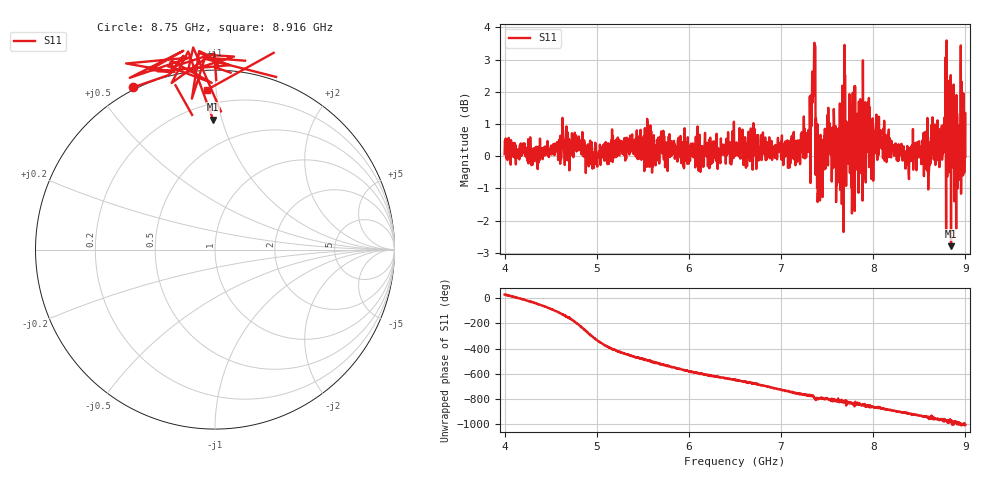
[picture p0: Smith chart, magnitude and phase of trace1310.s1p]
! Created with skrf 1.8.0 (http://scikit-rf.org).
# Hz S RI R 50.0
!freq ReS11 ImS11
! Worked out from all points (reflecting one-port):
!   1601 points, 4 GHz to 9 GHz, reference 50 ohm
!   lowest |S11| = -2.8 dB at 8.844 GHz (marker M1), VSWR 6.27, Z = 15.3 + j46.9 ohm
!   phase of S11 starts at 32 deg and turns -1042 deg over the sweep
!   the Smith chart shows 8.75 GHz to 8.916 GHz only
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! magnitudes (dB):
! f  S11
! 4 GHz  0.1
! 4.625 GHz  0.7
! 4.988 GHz  0.2
! 5.25 GHz  0.4
! 5.875 GHz  -0.2
! 6.5 GHz  0.4
! 7.125 GHz  0.3
! 7.297 GHz  0.8
! 7.347 GHz  2.5
! 7.369 GHz  3.4
! 7.4 GHz  -1.1
! 7.422 GHz  -1.4
! 7.519 GHz  0.2
! 7.616 GHz  0.1
! 7.691 GHz  -0.4
! 7.75 GHz  0.8
! 7.784 GHz  -1.1
! 7.822 GHz  1.0
! 7.928 GHz  0.5
! 7.981 GHz  -0.7
! 8.05 GHz  0.7
! 8.375 GHz  -0.1
! 8.594 GHz  0.6
! 8.816 GHz  0.3
! 8.844 GHz  -2.8
! 8.906 GHz  0.5
! 8.972 GHz  0.5
! 9 GHz  0.0
